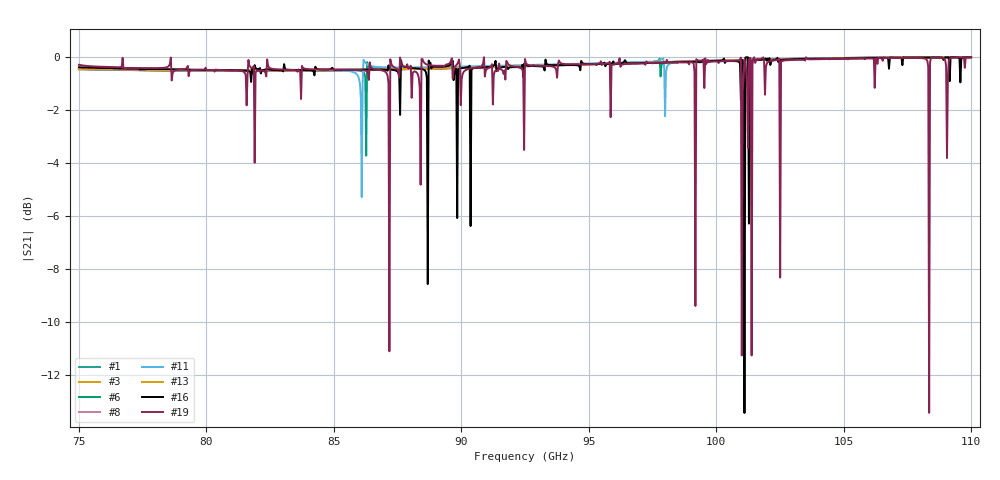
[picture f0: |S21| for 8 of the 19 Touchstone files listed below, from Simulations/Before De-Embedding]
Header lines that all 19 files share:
! TOUCHSTONE file generated by CST MICROWAVE STUDIO
! Header version: 2018
! Port assignment regex: !\s*Touchstone port\s*([0-9]+)\s*=\s*(CST MWS port|CST DS port)\s*([0-9]+|Zmin|Zmax)\s*\(\"(.*)\"\)(\s*mode\s*([0-9]+))?.*
! Touchstone port assignment:
! Touchstone port 1 = CST MWS port 1 ("")
! Touchstone port 2 = CST MWS port 2 ("")
# GHz S MA R 376.7
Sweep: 75 GHz to 110 GHz
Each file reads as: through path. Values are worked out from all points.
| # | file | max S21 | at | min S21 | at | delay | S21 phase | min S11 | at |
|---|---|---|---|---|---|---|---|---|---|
| 1 | MUT_1o95mm_HF.s2p | 0.00 dB | 108.8 GHz | -0.5 dB | 81.44 GHz | 35.8 ps | -113 deg at 92.5 GHz | -70.5 dB | 108.8 GHz |
| 2 | MUT_1o95mm_paredes.s2p | 0.00 dB | 108.9 GHz | -0.5 dB | 81.61 GHz | 22.4 ps | -29 deg at 92.5 GHz | -90.3 dB | 108.8 GHz |
| 3 | MUT_1o95mm_paredes_p1.s2p | 0.00 dB | 108.7 GHz | -0.5 dB | 81.47 GHz | 22.4 ps | -29 deg at 92.5 GHz | -70.1 dB | 108.8 GHz |
| 4 | MUT_1o95mm_paredes_p2.s2p | 0.00 dB | 108.8 GHz | -0.5 dB | 81.44 GHz | 22.4 ps | -29 deg at 92.5 GHz | -65.6 dB | 108.8 GHz |
| 5 | MUT_1o95mm_rotado.s2p | 0.00 dB | 109.9 GHz | -14.7 dB | 85.95 GHz | - | -113 deg at 92.5 GHz | -46.5 dB | 109.5 GHz |
| 6 | MUT_1o95mm_rotado_0.75oC.s2p | 0.00 dB | 109.7 GHz | -3.7 dB | 86.27 GHz | - | -113 deg at 92.5 GHz | -57.6 dB | 109.3 GHz |
| 7 | MUT_1o95mm_rotado_1oC.s2p | 0.00 dB | 109.4 GHz | -3.2 dB | 86.23 GHz | - | -113 deg at 92.5 GHz | -55.9 dB | 109.3 GHz |
| 8 | MUT_1o95mm_rotado_025oC.s2p | 0.00 dB | 109.9 GHz | -0.5 dB | 81.3 GHz | 35.7 ps | -113 deg at 92.5 GHz | -55.8 dB | 109.4 GHz |
| 9 | MUT_1o95mm_rotado_050oC.s2p | 0.00 dB | 109.4 GHz | -0.5 dB | 81.41 GHz | 35.7 ps | -113 deg at 92.5 GHz | -71.5 dB | 109.4 GHz |
| 10 | MUT_1o95mm_rotado_125oC.s2p | 0.00 dB | 109.6 GHz | -0.5 dB | 82.28 GHz | 35.7 ps | -113 deg at 92.5 GHz | -46.1 dB | 109.3 GHz |
| 11 | MUT_1o95mm_rotado_150oC.s2p | 0.00 dB | 109.6 GHz | -5.3 dB | 86.09 GHz | - | -113 deg at 92.5 GHz | -46.6 dB | 109.4 GHz |
| 12 | MUT_1o95mm_rotado_175mm.s2p | 0.00 dB | 109.6 GHz | -11.0 dB | 86.03 GHz | - | -113 deg at 92.5 GHz | -46.5 dB | 109.6 GHz |
| 13 | MUT_1o95mm_rotado_Z_025.s2p | 0.00 dB | 107.6 GHz | -0.5 dB | 81.97 GHz | 8.96 ps | 57 deg at 92.5 GHz | -45.0 dB | 108.8 GHz |
| 14 | MUT_1o95mm_rotado_Z_050.s2p | 0.00 dB | 110 GHz | -0.5 dB | 83.08 GHz | 8.97 ps | 57 deg at 92.5 GHz | -61.8 dB | 109.3 GHz |
| 15 | MUT_1o95mm_rotado_Z_075.s2p | 0.00 dB | 101.3 GHz | -1.0 dB | 101.4 GHz | 8.92 ps | 58 deg at 92.5 GHz | -62.2 dB | 109.4 GHz |
| 16 | MUT_1o95mm_rotado_Z_100.s2p | 0.00 dB | 101.2 GHz | -13.4 dB | 101.1 GHz | - | 60 deg at 92.5 GHz | -50.2 dB | 109.2 GHz |
| 17 | MUT_1o95mm_rotado_Z_125.s2p | 0.00 dB | 105.8 GHz | -6.2 dB | 97.61 GHz | - | 60 deg at 92.5 GHz | -60.8 dB | 109 GHz |
| 18 | MUT_1o95mm_rotado_Z_150.s2p | 0.00 dB | 105.8 GHz | -22.6 dB | 91.97 GHz | - | 60 deg at 92.5 GHz | -59.6 dB | 110 GHz |
| 19 | MUT_1o95mm_rotado_Z_175.s2p | 0.00 dB | 106.57 GHz | -13.4 dB | 108.36 GHz | - | 70 deg at 92.5 GHz | -58.9 dB | 109.86 GHz |
